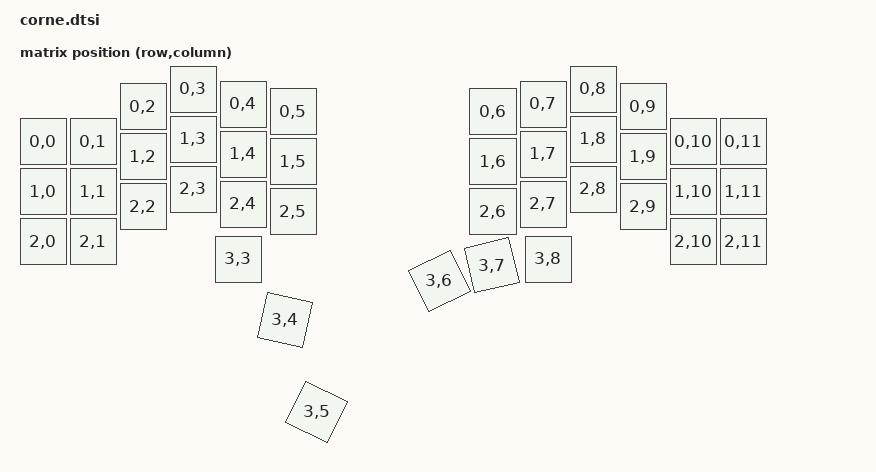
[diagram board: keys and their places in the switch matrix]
/*
* Copyright (c) 2022 The ZMK Contributors
*
* SPDX-License-Identifier: MIT
*/

#include <dt-bindings/zmk/matrix_transform.h>
#include <physical_layouts.dtsi>

/ {
    chosen {
        zmk,kscan = &kscan0;
        zmk,physical-layout = &default_layout;
    };

    default_transform: keymap_transform_0 {
        compatible = "zmk,matrix-transform";
        columns = <12>;
        rows = <4>;
// | SW1  | SW2  | SW3  | SW4  | SW5  | SW6  |   | SW6  | SW5  | SW4  | SW3  | SW2  | SW1  |
// | SW7  | SW8  | SW9  | SW10 | SW11 | SW12 |   | SW12 | SW11 | SW10 | SW9  | SW8  | SW7  |
// | SW13 | SW14 | SW15 | SW16 | SW17 | SW18 |   | SW18 | SW17 | SW16 | SW15 | SW14 | SW13 |
//                      | SW19 | SW20 | SW21 |   | SW21 | SW20 | SW19 |
		map = <
RC(0,0) RC(0,1) RC(0,2) RC(0,3) RC(0,4) RC(0,5)  RC(0,6)  RC(0,7) RC(0,8) RC(0,9) RC(0,10) RC(0,11)
RC(1,0) RC(1,1) RC(1,2) RC(1,3) RC(1,4) RC(1,5)  RC(1,6)  RC(1,7) RC(1,8) RC(1,9) RC(1,10) RC(1,11)
RC(2,0) RC(2,1) RC(2,2) RC(2,3) RC(2,4) RC(2,5)  RC(2,6)  RC(2,7) RC(2,8) RC(2,9) RC(2,10) RC(2,11)
                        RC(3,3) RC(3,4) RC(3,5)  RC(3,6) RC(3,7) RC(3,8)
		>;
    };
 
    kscan0: kscan_0 {
        diode-direction = "col2row";
    };

    default_layout: default_layout {
        compatible = "zmk,physical-layout";
        display-name = "CORNE";

        transform = <&default_transform>;

        keys  //                     w   h    x    y     rot    rx    ry
            = <&key_physical_attrs 100 100    0  105       0     0     0>
            , <&key_physical_attrs 100 100  100  105       0     0     0>
            , <&key_physical_attrs 100 100  200   35       0     0     0>
            , <&key_physical_attrs 100 100  300    0       0     0     0>
            , <&key_physical_attrs 100 100  400   30       0     0     0>
            , <&key_physical_attrs 100 100  500   45       0     0     0>
            , <&key_physical_attrs 100 100  900   45       0     0     0>
            , <&key_physical_attrs 100 100 1000   30       0     0     0>
            , <&key_physical_attrs 100 100 1100    0       0     0     0>
            , <&key_physical_attrs 100 100 1200   35       0     0     0>
            , <&key_physical_attrs 100 100 1300  105       0     0     0>
            , <&key_physical_attrs 100 100 1400  105       0     0     0>
            , <&key_physical_attrs 100 100    0  205       0     0     0>
            , <&key_physical_attrs 100 100  100  205       0     0     0>
            , <&key_physical_attrs 100 100  200  135       0     0     0>
            , <&key_physical_attrs 100 100  300  100       0     0     0>
            , <&key_physical_attrs 100 100  400  130       0     0     0>
            , <&key_physical_attrs 100 100  500  145       0     0     0>
            , <&key_physical_attrs 100 100  900  145       0     0     0>
            , <&key_physical_attrs 100 100 1000  130       0     0     0>
            , <&key_physical_attrs 100 100 1100  100       0     0     0>
            , <&key_physical_attrs 100 100 1200  135       0     0     0>
            , <&key_physical_attrs 100 100 1300  205       0     0     0>
            , <&key_physical_attrs 100 100 1400  205       0     0     0>
            , <&key_physical_attrs 100 100    0  305       0     0     0>
            , <&key_physical_attrs 100 100  100  305       0     0     0>
            , <&key_physical_attrs 100 100  200  235       0     0     0>
            , <&key_physical_attrs 100 100  300  200       0     0     0>
            , <&key_physical_attrs 100 100  400  230       0     0     0>
            , <&key_physical_attrs 100 100  500  245       0     0     0>
            , <&key_physical_attrs 100 100  900  245       0     0     0>
            , <&key_physical_attrs 100 100 1000  230       0     0     0>
            , <&key_physical_attrs 100 100 1100  200       0     0     0>
            , <&key_physical_attrs 100 100 1200  235       0     0     0>
            , <&key_physical_attrs 100 100 1300  305       0     0     0>
            , <&key_physical_attrs 100 100 1400  305       0     0     0>
            , <&key_physical_attrs 100 100  390  340       0     0     0>
            , <&key_physical_attrs 100 100  490  340    1300     0   425>
            , <&key_physical_attrs 100 100  590  360    2600     0   460>
            , <&key_physical_attrs 100 100  815  340 (-2600)   950   460>
            , <&key_physical_attrs 100 100  905  330 (-1300)  1050   425>
            , <&key_physical_attrs 100 100 1010  340       0     0     0>
            ;
    };
};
